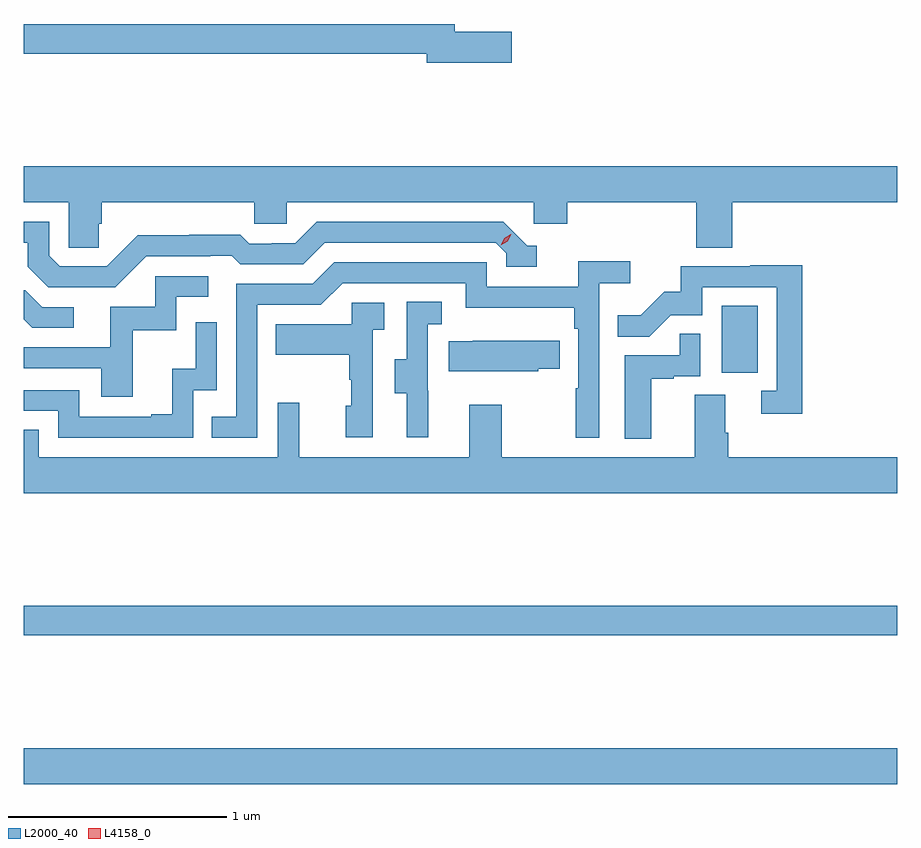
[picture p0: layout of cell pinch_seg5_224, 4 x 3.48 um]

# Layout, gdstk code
import gdstk
lib = gdstk.Library(unit=1e-6, precision=1e-09)
def R(c, l, rs):  # rectangles x0, y0, x1, y1
    for r in rs: c.add(gdstk.rectangle(r[:2], r[2:], *l))
def P(c, l, *ps):  # polygons
    for p in ps: c.add(gdstk.Polygon(p, *l))
L2000_40 = (2000, 40)
L4158_0 = (4158, 0)

pinch_seg5_224 = lib.new_cell('pinch_seg5_224')
R(pinch_seg5_224, L2000_40, [(959.368,906.044,963.368,906.208), (959.368,906.724,963.368,906.86), (962.564,907.926,962.728,908.233)])
P(pinch_seg5_224, L2000_40, [(961.603,909.488),(961.342,909.488),(961.342,909.524),(959.368,909.524),(959.368,909.388),(961.214,909.388),(961.214,909.346),(961.603,909.346)],
  [(959.711,908.61),(959.726,908.61),(959.726,908.708),(960.423,908.708),(960.423,908.61),(960.573,908.61),(960.573,908.708),(961.704,908.708),(961.704,908.61),(961.856,908.61),(961.856,908.708),(962.447,908.708),(962.447,908.5),(962.612,908.5),(962.612,908.708),(963.368,908.708),(963.368,908.872),(959.368,908.872),(959.368,908.708),(959.574,908.708),(959.574,908.5),(959.711,908.5)],
  [(959.928,908.46),(960.221,908.46),(960.221,908.463),(960.32,908.463),(960.359,908.424),(960.648,908.424),(960.747,908.523),(961.53,908.523),(961.578,908.475),(961.578,908.412),(961.717,908.412),(961.717,908.508),(961.674,908.508),(961.563,908.619),(960.71,908.619),(960.611,908.52),(960.504,908.52),(960.504,908.517),(960.401,908.517),(960.359,908.56),(960.126,908.56),(960.126,908.557),(959.89,908.557),(959.748,908.415),(959.532,908.415),(959.484,908.463),(959.484,908.619),(959.368,908.619),(959.368,908.523),(959.387,908.523),(959.387,908.413),(959.481,908.319),(959.787,908.319)],
  [(960.438,908.238),(960.729,908.238),(960.828,908.337),(961.392,908.337),(961.392,908.225),(961.888,908.225),(961.888,908.129),(961.908,908.129),(961.908,907.856),(961.896,907.856),(961.896,907.629),(962.004,907.629),(962.004,908.336),(962.146,908.336),(962.146,908.438),(961.907,908.438),(961.907,908.322),(961.488,908.322),(961.488,908.433),(960.791,908.433),(960.692,908.334),(960.342,908.334),(960.342,907.725),(960.229,907.725),(960.229,907.629),(960.438,907.629)],
  [(962.933,908.42),(962.695,908.42),(962.695,908.415),(962.377,908.415),(962.377,908.298),(962.3,908.298),(962.193,908.191),(962.089,908.191),(962.089,908.092),(962.232,908.092),(962.33,908.19),(962.475,908.19),(962.475,908.319),(962.817,908.319),(962.817,907.845),(962.745,907.845),(962.745,907.74),(962.933,907.74)],
  [(959.867,908.121),(960.066,908.121),(960.066,908.274),(960.214,908.274),(960.214,908.37),(959.97,908.37),(959.97,908.229),(959.765,908.229),(959.765,908.043),(959.368,908.043),(959.368,907.947),(959.723,907.947),(959.723,907.818),(959.867,907.818)],
  [(959.596,908.226),(959.454,908.226),(959.374,908.306),(959.368,908.306),(959.368,908.173),(959.408,908.133),(959.596,908.133)],
  [(961.22,907.845),(961.218,907.845),(961.218,908.149),(961.282,908.149),(961.282,908.252),(961.122,908.252),(961.122,907.989),(961.067,907.989),(961.067,907.834),(961.121,907.834),(961.121,907.632),(961.22,907.632)],
  [(960.966,908.123),(961.018,908.123),(961.018,908.247),(960.87,908.247),(960.87,908.149),(960.523,908.149),(960.523,908.009),(960.858,908.009),(960.858,907.895),(960.868,907.895),(960.868,907.776),(960.842,907.776),(960.842,907.632),(960.966,907.632)],
  [(960.144,907.848),(960.252,907.848),(960.252,908.158),(960.156,908.158),(960.156,907.946),(960.047,907.946),(960.047,907.738),(959.951,907.738),(959.951,907.725),(959.622,907.725),(959.622,907.848),(959.368,907.848),(959.368,907.752),(959.526,907.752),(959.526,907.629),(960.144,907.629)],
  [(962.242,907.899),(962.345,907.899),(962.345,907.911),(962.466,907.911),(962.466,908.105),(962.371,908.105),(962.371,908.007),(962.12,908.007),(962.12,907.625),(962.242,907.625)],
  [(961.725,907.945),(961.823,907.945),(961.823,908.074),(961.423,908.074),(961.423,908.071),(961.315,908.071),(961.315,907.934),(961.725,907.934)],
  [(963.368,907.54),(962.594,907.54),(962.594,907.652),(962.581,907.652),(962.581,907.826),(962.441,907.826),(962.441,907.54),(961.557,907.54),(961.557,907.78),(961.409,907.78),(961.409,907.54),(960.629,907.54),(960.629,907.789),(960.531,907.789),(960.531,907.54),(959.436,907.54),(959.436,907.667),(959.368,907.667),(959.368,907.376),(963.368,907.376)])
P(pinch_seg5_224, L4158_0, [(961.553,908.51),(961.553,908.51),(961.569,908.543),(961.599,908.562),(961.6,908.562),(961.6,908.562),(961.584,908.53),(961.553,908.51)])

lib.write_gds('pinch_seg5_224.gds')
